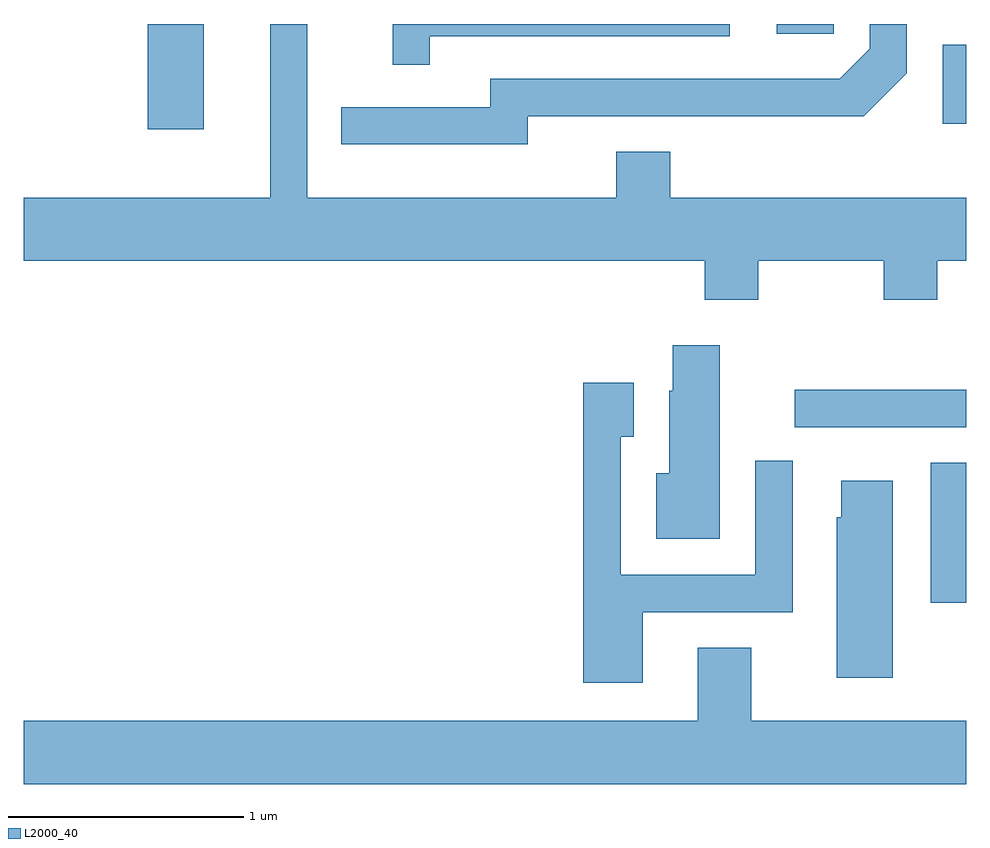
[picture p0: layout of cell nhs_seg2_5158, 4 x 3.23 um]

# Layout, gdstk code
import gdstk
lib = gdstk.Library(unit=1e-6, precision=1e-09)
def R(c, l, rs):  # rectangles x0, y0, x1, y1
    for r in rs: c.add(gdstk.rectangle(r[:2], r[2:], *l))
def P(c, l, *ps):  # polygons
    for p in ps: c.add(gdstk.Polygon(p, *l))
L2000_40 = (2000, 40)

nhs_seg2_5158 = lib.new_cell('nhs_seg2_5158')
R(nhs_seg2_5158, L2000_40, [(341.461,1011.346,341.611,1011.939), (340.883,1012.091,341.611,1012.249), (338.136,1013.356,338.374,1013.802), (341.511,1013.378,341.611,1013.714), (340.808,1013.761,341.049,1013.802)])
P(nhs_seg2_5158, L2000_40, [(340.729,1012.796),(341.261,1012.796),(341.261,1012.631),(341.489,1012.631),(341.489,1012.796),(341.611,1012.796),(341.611,1013.064),(340.354,1013.064),(340.354,1013.259),(340.126,1013.259),(340.126,1013.064),(338.814,1013.064),(338.814,1013.802),(338.656,1013.802),(338.656,1013.064),(337.611,1013.064),(337.611,1012.796),(340.501,1012.796),(340.501,1012.631),(340.729,1012.631)],
  [(339.749,1013.411),(341.177,1013.411),(341.359,1013.594),(341.359,1013.802),(341.201,1013.802),(341.201,1013.697),(341.074,1013.569),(339.591,1013.569),(339.591,1013.449),(338.958,1013.449),(338.958,1013.291),(339.749,1013.291)],
  [(339.334,1013.751),(340.608,1013.751),(340.608,1013.802),(339.176,1013.802),(339.176,1013.628),(339.334,1013.628)],
  [(340.564,1012.439),(340.366,1012.439),(340.366,1012.245),(340.351,1012.245),(340.351,1011.894),(340.296,1011.894),(340.296,1011.616),(340.564,1011.616)],
  [(340.239,1011.306),(340.874,1011.306),(340.874,1011.948),(340.716,1011.948),(340.716,1011.464),(340.144,1011.464),(340.144,1012.051),(340.199,1012.051),(340.199,1012.279),(339.986,1012.279),(339.986,1011.006),(340.239,1011.006)],
  [(341.299,1011.864),(341.081,1011.864),(341.081,1011.709),(341.061,1011.709),(341.061,1011.026),(341.299,1011.026)],
  [(341.611,1010.844),(340.699,1010.844),(340.699,1011.154),(340.471,1011.154),(340.471,1010.844),(337.611,1010.844),(337.611,1010.576),(341.611,1010.576)])

lib.write_gds('nhs_seg2_5158.gds')
